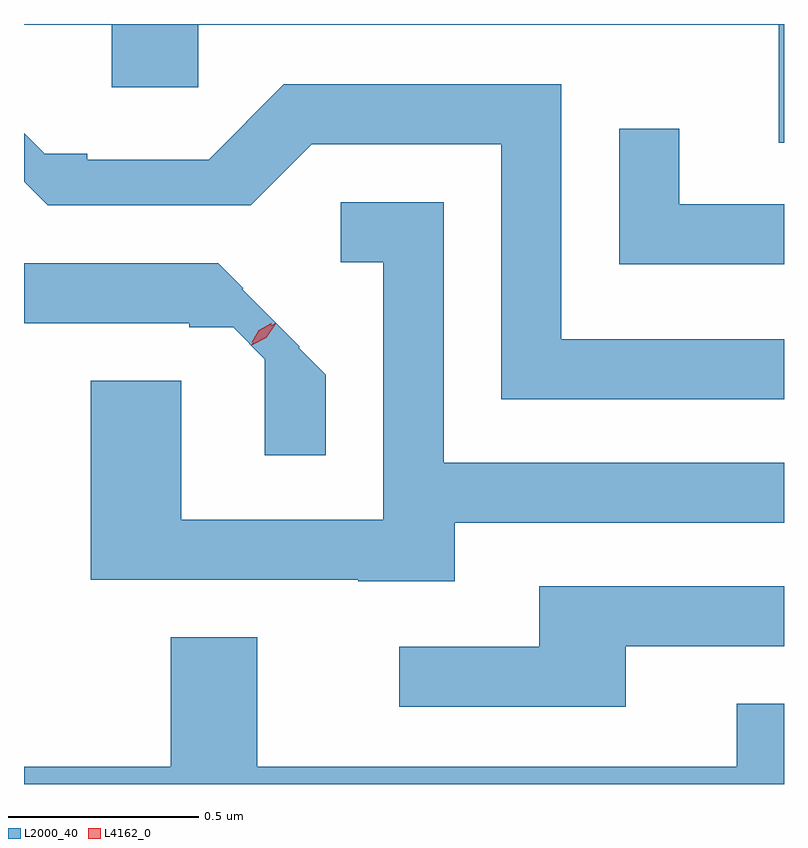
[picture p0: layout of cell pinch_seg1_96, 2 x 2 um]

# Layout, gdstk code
import gdstk
lib = gdstk.Library(unit=1e-6, precision=1e-09)
def P(c, l, *ps):  # polygons
    for p in ps: c.add(gdstk.Polygon(p, *l))
L2000_40 = (2000, 40)
L4162_0 = (4162, 0)

pinch_seg1_96 = lib.new_cell('pinch_seg1_96')
P(pinch_seg1_96, L2000_40, [(1021.625,923.998),(1019.625,923.998),(1019.625,923.996),(1019.856,923.996),(1019.856,923.831),(1020.084,923.831),(1020.084,923.996),(1021.611,923.996),(1021.611,923.686),(1021.625,923.686)],
  [(1021.625,923.169),(1021.039,923.169),(1021.039,923.839),(1020.309,923.839),(1020.111,923.641),(1019.791,923.641),(1019.791,923.657),(1019.68,923.657),(1019.625,923.711),(1019.625,923.583),(1019.688,923.521),(1020.222,923.521),(1020.382,923.681),(1020.881,923.681),(1020.881,923.011),(1021.625,923.011)],
  [(1021.625,923.524),(1021.349,923.524),(1021.349,923.723),(1021.191,923.723),(1021.191,923.366),(1021.625,923.366)],
  [(1020.759,922.686),(1021.625,922.686),(1021.625,922.844),(1020.729,922.844),(1020.729,923.529),(1020.458,923.529),(1020.458,923.371),(1020.571,923.371),(1020.571,922.694),(1020.039,922.694),(1020.039,923.059),(1019.801,923.059),(1019.801,922.536),(1020.505,922.536),(1020.505,922.531),(1020.759,922.531)],
  [(1020.419,923.075),(1020.348,923.146),(1020.35,923.149),(1020.199,923.3),(1020.202,923.303),(1020.136,923.369),(1019.625,923.369),(1019.625,923.211),(1020.06,923.211),(1020.06,923.2),(1020.175,923.2),(1020.259,923.116),(1020.259,922.863),(1020.419,922.863)],
  [(1021.209,922.361),(1021.625,922.361),(1021.625,922.519),(1020.981,922.519),(1020.981,922.359),(1020.613,922.359),(1020.613,922.201),(1021.209,922.201)],
  [(1021.625,922.209),(1021.501,922.209),(1021.501,922.044),(1020.239,922.044),(1020.239,922.384),(1020.011,922.384),(1020.011,922.044),(1019.625,922.044),(1019.625,921.998),(1021.625,921.998)])
P(pinch_seg1_96, L4162_0, [(1020.224,923.16),(1020.224,923.161),(1020.243,923.192),(1020.276,923.211),(1020.277,923.211),(1020.277,923.21),(1020.257,923.178),(1020.225,923.16)],
  [(1020.223,923.152),(1020.223,923.153),(1020.248,923.188),(1020.286,923.21),(1020.287,923.21),(1020.287,923.209),(1020.262,923.173),(1020.224,923.152)])

lib.write_gds('pinch_seg1_96.gds')
